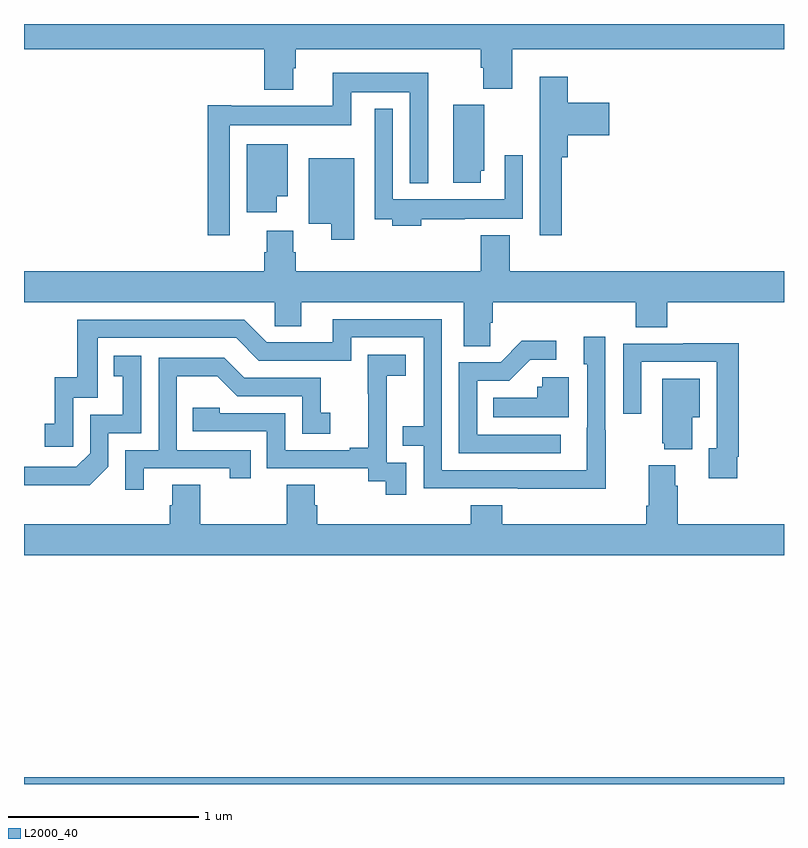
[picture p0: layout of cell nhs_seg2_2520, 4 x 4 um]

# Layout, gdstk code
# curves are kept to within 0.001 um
import gdstk
lib = gdstk.Library(unit=1e-6, precision=1e-09)
def R(c, l, rs):  # rectangles x0, y0, x1, y1
    for r in rs: c.add(gdstk.rectangle(r[:2], r[2:], *l))
def P(c, l, *ps):  # polygons
    for p in ps: c.add(gdstk.Polygon(p, *l))
L2000_40 = (2000, 40)

nhs_seg2_2520 = lib.new_cell('nhs_seg2_2520')
R(nhs_seg2_2520, L2000_40, [(243,611.8,247,611.836)])
P(nhs_seg2_2520, L2000_40, [(244.417,615.567),(244.43,615.567),(244.43,615.668),(245.405,615.668),(245.405,615.569),(245.417,615.569),(245.417,615.46),(245.57,615.46),(245.57,615.668),(247,615.668),(247,615.8),(243,615.8),(243,615.668),(244.265,615.668),(244.265,615.455),(244.417,615.455)],
  [(244.083,615.266),(244.722,615.266),(244.722,615.44),(245.031,615.44),(245.031,614.963),(245.128,614.963),(245.128,615.544),(244.625,615.544),(244.625,615.37),(244.09,615.37),(244.09,615.373),(243.967,615.373),(243.967,614.688),(244.083,614.688)],
  [(245.831,615.098),(245.861,615.098),(245.861,615.215),(246.079,615.215),(246.079,615.385),(245.861,615.385),(245.861,615.523),(245.714,615.523),(245.714,615.231),(245.715,615.231),(245.715,614.688),(245.831,614.688)],
  [(245.404,615.027),(245.422,615.027),(245.422,615.375),(245.258,615.375),(245.258,614.964),(245.404,614.964)],
  [(245.09,614.772),(245.321,614.772),(245.321,614.774),(245.625,614.774),(245.625,615.109),(245.529,615.109),(245.529,614.878),(244.941,614.878),(244.941,615.355),(244.845,615.355),(244.845,614.772),(244.937,614.772),(244.937,614.738),(245.09,614.738)],
  [(244.33,614.894),(244.387,614.894),(244.387,615.166),(244.172,615.166),(244.172,614.808),(244.33,614.808)],
  [(244.738,615.094),(244.499,615.094),(244.499,614.75),(244.616,614.75),(244.616,614.664),(244.738,614.664)],
  [(245.454,614.227),(245.468,614.227),(245.468,614.336),(246.221,614.336),(246.221,614.203),(246.386,614.203),(246.386,614.336),(247,614.336),(247,614.5),(245.557,614.5),(245.557,614.689),(245.405,614.689),(245.405,614.5),(244.43,614.5),(244.43,614.598),(244.417,614.598),(244.417,614.713),(244.277,614.713),(244.277,614.598),(244.265,614.598),(244.265,614.5),(243,614.5),(243,614.336),(244.32,614.336),(244.32,614.209),(244.459,614.209),(244.459,614.336),(245.315,614.336),(245.315,614.104),(245.454,614.104)],
  [(246.063,613.661),(246.06,613.661),(246.06,614.155),(245.945,614.155),(245.945,614.01),(245.964,614.01),(245.963,613.452),(245.199,613.452),(245.199,614.247),(244.625,614.247),(244.625,614.124),(244.278,614.124),(244.158,614.244),(243.279,614.244),(243.279,613.942),(243.161,613.942),(243.161,613.695),(243.108,613.695),(243.108,613.575),(243.258,613.575),(243.258,613.833),(243.387,613.833),(243.387,614.148),(244.116,614.148),(244.236,614.028),(244.722,614.028),(244.722,614.151),(245.103,614.151),(245.103,613.682),(244.993,613.682),(244.993,613.581),(245.103,613.581),(245.103,613.356),(246.063,613.355)],
  [(245.824,613.638),(245.385,613.638),(245.385,613.923),(245.554,613.923),(245.665,614.034),(245.8,614.034),(245.8,614.132),(245.621,614.132),(245.508,614.019),(245.289,614.019),(245.289,613.542),(245.824,613.542)],
  [(246.754,613.522),(246.761,613.522),(246.761,614.12),(246.469,614.12),(246.469,614.118),(246.153,614.118),(246.153,613.749),(246.249,613.749),(246.249,614.022),(246.645,614.022),(246.645,613.566),(246.605,613.566),(246.605,613.41),(246.754,613.41)],
  [(245.013,613.491),(244.908,613.491),(244.908,613.721),(244.91,613.721),(244.91,613.949),(245.008,613.949),(245.008,614.059),(244.81,614.059),(244.81,613.853),(244.811,613.853),(244.811,613.57),(244.715,613.57),(244.715,613.557),(244.374,613.557),(244.374,613.752),(244.029,613.752),(244.029,613.779),(243.889,613.779),(243.889,613.656),(244.278,613.656),(244.278,613.461),(244.812,613.461),(244.812,613.393),(244.905,613.393),(244.905,613.323),(245.013,613.323)],
  [(243.444,613.47),(243.444,613.647),(243.618,613.647),(243.618,614.053),(243.472,614.053),(243.472,613.947),(243.521,613.947),(243.521,613.743),(243.348,613.743),(243.348,613.542),(243.276,613.47),(243,613.47),(243,613.373),(243.346,613.373)],
  [(243.631,613.461),(244.082,613.461),(244.082,613.41),(244.193,613.41),(244.193,613.557),(243.804,613.557),(243.804,613.946),(244.018,613.946),(244.122,613.842),(244.464,613.842),(244.464,613.644),(244.612,613.644),(244.612,613.753),(244.563,613.753),(244.563,613.938),(244.159,613.938),(244.054,614.043),(243.708,614.043),(243.708,613.557),(243.534,613.557),(243.534,613.35),(243.631,613.35)],
  [(245.866,613.942),(245.727,613.942),(245.727,613.89),(245.701,613.89),(245.701,613.834),(245.47,613.834),(245.47,613.73),(245.866,613.73)],
  [(246.517,613.73),(246.556,613.73),(246.556,613.933),(246.359,613.933),(246.359,613.593),(246.371,613.593),(246.371,613.562),(246.517,613.562)],
  [(247,613.168),(246.44,613.168),(246.44,613.37),(246.427,613.37),(246.427,613.477),(246.287,613.477),(246.287,613.264),(246.275,613.264),(246.275,613.168),(245.516,613.168),(245.516,613.267),(245.351,613.267),(245.351,613.168),(244.544,613.168),(244.544,613.266),(244.531,613.266),(244.531,613.376),(244.384,613.376),(244.384,613.168),(243.927,613.168),(243.927,613.376),(243.779,613.376),(243.779,613.266),(243.767,613.266),(243.767,613.168),(243,613.168),(243,613.004),(247,613.004)])

lib.write_gds('nhs_seg2_2520.gds')
